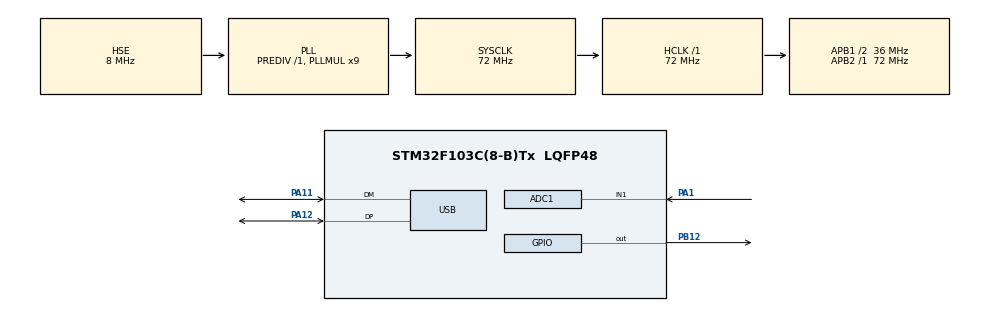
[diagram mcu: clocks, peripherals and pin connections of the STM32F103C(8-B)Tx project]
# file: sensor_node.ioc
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ADC1.Channel-0\#ChannelRegularConversion=ADC_CHANNEL_1
ADC1.Channel-1\#ChannelRegularConversion=ADC_CHANNEL_TEMPSENSOR
ADC1.Channel-2\#ChannelRegularConversion=ADC_CHANNEL_VREFINT
ADC1.ContinuousConvMode=DISABLE
ADC1.DiscontinuousConvMode=DISABLE
ADC1.NbrOfConversion=3
ADC1.NbrOfConversionFlag=1
ADC1.Rank-0\#ChannelRegularConversion=1
ADC1.Rank-1\#ChannelRegularConversion=2
ADC1.Rank-2\#ChannelRegularConversion=3
ADC1.SamplingTime-0\#ChannelRegularConversion=ADC_SAMPLETIME_239CYCLES_5
ADC1.SamplingTime-1\#ChannelRegularConversion=ADC_SAMPLETIME_239CYCLES_5
ADC1.SamplingTime-2\#ChannelRegularConversion=ADC_SAMPLETIME_239CYCLES_5
ADC1.master=1
Dma.ADC1.0.Direction=DMA_PERIPH_TO_MEMORY
Dma.ADC1.0.Instance=DMA1_Channel1
Dma.ADC1.0.MemDataAlignment=DMA_MDATAALIGN_WORD
Dma.ADC1.0.MemInc=DMA_MINC_ENABLE
Dma.ADC1.0.Mode=DMA_CIRCULAR
Dma.ADC1.0.PeriphDataAlignment=DMA_PDATAALIGN_WORD
Dma.ADC1.0.PeriphInc=DMA_PINC_DISABLE
Dma.ADC1.0.Priority=DMA_PRIORITY_LOW
Dma.Request0=ADC1
Mcu.Family=STM32F1
Mcu.Name=STM32F103C(8-B)Tx
Mcu.Package=LQFP48
NVIC.ADC1_2_IRQn=true\:0\:0\:false\:false\:true\:true\:true
NVIC.DMA1_Channel1_IRQn=true\:0\:0\:false\:false\:true\:false\:true
NVIC.PriorityGroup=NVIC_PRIORITYGROUP_4
NVIC.USB_LP_CAN1_RX0_IRQn=true\:0\:0\:false\:false\:true\:false\:true
PA1.Signal=ADCx_IN1
PA11.Mode=Device
PA11.Signal=USB_DM
PA12.Mode=Device
PA12.Signal=USB_DP
PA13.Mode=Serial_Wire
PA13.Signal=SYS_JTMS-SWDIO
PA14.Mode=Serial_Wire
PA14.Signal=SYS_JTCK-SWCLK
PB12.Signal=GPIO_Output
PD0-OSC_IN.Mode=HSE-External-Oscillator
PD0-OSC_IN.Signal=RCC_OSC_IN
PD1-OSC_OUT.Mode=HSE-External-Oscillator
PD1-OSC_OUT.Signal=RCC_OSC_OUT
ProjectManager.HeapSize=0x200
ProjectManager.StackSize=0x400
ProjectManager.TargetToolchain=STM32CubeIDE
RCC.ADCPresc=RCC_ADCPCLK2_DIV8
RCC.AHBFreq_Value=72000000
RCC.APB1CLKDivider=RCC_HCLK_DIV2
RCC.APB1Freq_Value=36000000
RCC.APB1TimFreq_Value=72000000
RCC.APB2Freq_Value=72000000
RCC.APB2TimFreq_Value=72000000
RCC.HCLKFreq_Value=72000000
RCC.PLLMUL=RCC_PLL_MUL9
RCC.SYSCLKFreq_VALUE=72000000
RCC.SYSCLKSource=RCC_SYSCLKSOURCE_PLLCLK
RCC.USBFreq_Value=48000000
RCC.USBPrescaler=RCC_USBCLKSOURCE_PLL_DIV1_5
SH.ADCx_IN1.0=ADC1_IN1,IN1
USB_DEVICE.CLASS_NAME_FS=CDC
USB_DEVICE.VirtualMode=Cdc
USB_DEVICE.VirtualModeFS=Cdc_FS
VP_ADC1_TempSens_Input.Mode=IN-TempSens
VP_ADC1_Vref_Input.Mode=IN-Vrefint
VP_USB_DEVICE_VS_USB_DEVICE_CDC_FS.Mode=CDC_FS
board=custom

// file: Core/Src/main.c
/* USER CODE BEGIN Header */
/**
 ******************************************************************************
 * @file           : main.c
 * @brief          : Main program body
 ******************************************************************************
 * @attention
 *
 * Copyright (c) 2022 STMicroelectronics.
 * All rights reserved.
 *
 * This software is licensed under terms that can be found in the LICENSE file
 * in the root directory of this software component.
 * If no LICENSE file comes with this software, it is provided AS-IS.
 *
 ******************************************************************************
 */
/* USER CODE END Header */
#include "main.h"
#include "usb_device.h"

/* USER CODE BEGIN Includes */
#include <stdio.h>
/* USER CODE END Includes */

ADC_HandleTypeDef hadc1;
DMA_HandleTypeDef hdma_adc1;

/* USER CODE BEGIN PV */
__IO uint32_t adc_dma_values[3] = {0};
__IO int adc_state = 0;
/* USER CODE END PV */

void SystemClock_Config(void);
static void MX_GPIO_Init(void);
static void MX_ADC1_Init(void);
static void MX_DMA_Init(void);

/* USER CODE BEGIN 0 */

int _write (int file, char *ptr, int len)
{
  //HAL_UART_Transmit(&huart1, (uint8_t*)ptr, len, 100);
  CDC_Transmit_FS (ptr, len);
  return (len);
}

/* USER CODE END 0 */

int main(void)
{
  /* USER CODE BEGIN 1 */
  int adc_channel = 0;
  uint32_t adc_values[4] = {0};
  /* USER CODE END 1 */

  /* MCU Configuration--------------------------------------------------------*/

  /* Reset of all peripherals, Initializes the Flash interface and the Systick. */
  HAL_Init();

  /* Configure the system clock */
  SystemClock_Config();

  /* Initialize all configured peripherals */
  MX_GPIO_Init();
  MX_ADC1_Init();
  MX_DMA_Init();
  MX_USB_DEVICE_Init();
  /* USER CODE BEGIN 2 */
  while(!(HAL_ADCEx_Calibration_Start(&hadc1)==HAL_OK));
  printf("$MSG,ADC Calibration Ok*\n");

  HAL_ADC_Start_DMA(&hadc1, (uint32_t*)adc_dma_values, 3);
  /* USER CODE END 2 */

  /* Infinite loop */
  while (1) {

    /* USER CODE BEGIN 3 */
    printf("1_HAL_ADC_ConvCpltCallback %lu %lu %lu // %d\n",
                 adc_dma_values[0],
                 adc_dma_values[1],
                 adc_dma_values[2],
                 adc_state
    );

    adc_state = 0;

    HAL_Delay(500);
    HAL_GPIO_TogglePin (GPIOB, GPIO_PIN_12);
  }
  /* USER CODE END 3 */
}

void SystemClock_Config(void)
{
  RCC_OscInitTypeDef RCC_OscInitStruct = {0};
  RCC_ClkInitTypeDef RCC_ClkInitStruct = {0};
  RCC_PeriphCLKInitTypeDef PeriphClkInit = {0};

  /** Initializes the RCC Oscillators according to the specified parameters
  * in the RCC_OscInitTypeDef structure.
  */
  RCC_OscInitStruct.OscillatorType = RCC_OSCILLATORTYPE_HSE;
  RCC_OscInitStruct.HSEState = RCC_HSE_ON;
  RCC_OscInitStruct.HSEPredivValue = RCC_HSE_PREDIV_DIV1;
  RCC_OscInitStruct.HSIState = RCC_HSI_ON;
  RCC_OscInitStruct.PLL.PLLState = RCC_PLL_ON;
  RCC_OscInitStruct.PLL.PLLSource = RCC_PLLSOURCE_HSE;
  RCC_OscInitStruct.PLL.PLLMUL = RCC_PLL_MUL9;
  if (HAL_RCC_OscConfig(&RCC_OscInitStruct) != HAL_OK)
  {
    Error_Handler();
  }
  /** Initializes the CPU, AHB and APB buses clocks
  */
  RCC_ClkInitStruct.ClockType = RCC_CLOCKTYPE_HCLK|RCC_CLOCKTYPE_SYSCLK
                              |RCC_CLOCKTYPE_PCLK1|RCC_CLOCKTYPE_PCLK2;
  RCC_ClkInitStruct.SYSCLKSource = RCC_SYSCLKSOURCE_PLLCLK;
  RCC_ClkInitStruct.AHBCLKDivider = RCC_SYSCLK_DIV1;
  RCC_ClkInitStruct.APB1CLKDivider = RCC_HCLK_DIV2;
  RCC_ClkInitStruct.APB2CLKDivider = RCC_HCLK_DIV1;

  if (HAL_RCC_ClockConfig(&RCC_ClkInitStruct, FLASH_LATENCY_2) != HAL_OK)
  {
    Error_Handler();
  }
  PeriphClkInit.PeriphClockSelection = RCC_PERIPHCLK_ADC|RCC_PERIPHCLK_USB;
  PeriphClkInit.AdcClockSelection = RCC_ADCPCLK2_DIV8;
  PeriphClkInit.UsbClockSelection = RCC_USBCLKSOURCE_PLL_DIV1_5;
  if (HAL_RCCEx_PeriphCLKConfig(&PeriphClkInit) != HAL_OK)
  {
    Error_Handler();
  }
}

static void MX_ADC1_Init(void)
{

  ADC_ChannelConfTypeDef sConfig = {0};

  /** Common config
  */
  hadc1.Instance = ADC1;
  hadc1.Init.ScanConvMode = ADC_SCAN_ENABLE;
  hadc1.Init.ContinuousConvMode = DISABLE;
  hadc1.Init.DiscontinuousConvMode = DISABLE;
  hadc1.Init.ExternalTrigConv = ADC_SOFTWARE_START;
  hadc1.Init.DataAlign = ADC_DATAALIGN_RIGHT;
  hadc1.Init.NbrOfConversion = 3;
  if (HAL_ADC_Init(&hadc1) != HAL_OK)
  {
    Error_Handler();
  }
  /** Configure Regular Channel
  */
  sConfig.Channel = ADC_CHANNEL_1;
  sConfig.Rank = ADC_REGULAR_RANK_1;
  sConfig.SamplingTime = ADC_SAMPLETIME_239CYCLES_5;
  if (HAL_ADC_ConfigChannel(&hadc1, &sConfig) != HAL_OK)
  {
    Error_Handler();
  }
  /** Configure Regular Channel
  */
  sConfig.Channel = ADC_CHANNEL_TEMPSENSOR;
  sConfig.Rank = ADC_REGULAR_RANK_2;
  if (HAL_ADC_ConfigChannel(&hadc1, &sConfig) != HAL_OK)
  {
    Error_Handler();
  }
  /** Configure Regular Channel
  */
  sConfig.Channel = ADC_CHANNEL_VREFINT;
  sConfig.Rank = ADC_REGULAR_RANK_3;
  if (HAL_ADC_ConfigChannel(&hadc1, &sConfig) != HAL_OK)
  {
    Error_Handler();
  }

}

static void MX_DMA_Init(void)
{

  /* DMA controller clock enable */
  __HAL_RCC_DMA1_CLK_ENABLE();

  /* DMA interrupt init */
  /* DMA1_Channel1_IRQn interrupt configuration */
  HAL_NVIC_SetPriority(DMA1_Channel1_IRQn, 0, 0);
  HAL_NVIC_EnableIRQ(DMA1_Channel1_IRQn);

}

static void MX_GPIO_Init(void)
{
  GPIO_InitTypeDef GPIO_InitStruct = {0};

  /* GPIO Ports Clock Enable */
  __HAL_RCC_GPIOD_CLK_ENABLE();
  __HAL_RCC_GPIOA_CLK_ENABLE();
  __HAL_RCC_GPIOB_CLK_ENABLE();

  /*Configure GPIO pin Output Level */
  HAL_GPIO_WritePin(GPIOB, GPIO_PIN_12, GPIO_PIN_RESET);

  /*Configure GPIO pin : PB12 */
  GPIO_InitStruct.Pin = GPIO_PIN_12;
  GPIO_InitStruct.Mode = GPIO_MODE_OUTPUT_PP;
  GPIO_InitStruct.Pull = GPIO_NOPULL;
  GPIO_InitStruct.Speed = GPIO_SPEED_FREQ_LOW;
  HAL_GPIO_Init(GPIOB, &GPIO_InitStruct);

}

/* USER CODE BEGIN 4 */
void HAL_ADC_ConvCpltCallback(ADC_HandleTypeDef* hadc)
{
  adc_state = 2;
}
/* USER CODE END 4 */

void Error_Handler(void)
{
  /* USER CODE BEGIN Error_Handler_Debug */
  /* User can add his own implementation to report the HAL error return state */
  __disable_irq ();
  while (1) {
  }
  /* USER CODE END Error_Handler_Debug */
}
